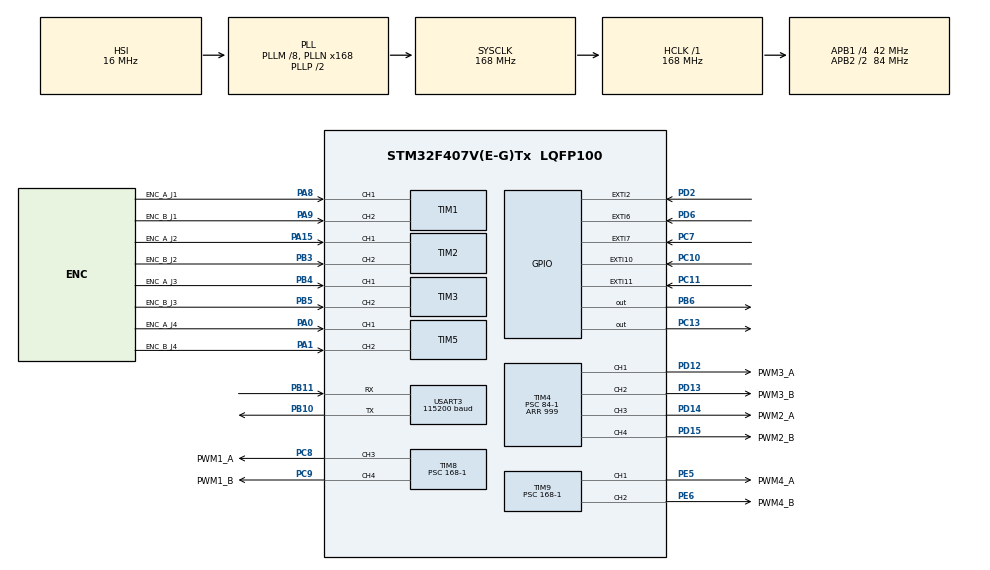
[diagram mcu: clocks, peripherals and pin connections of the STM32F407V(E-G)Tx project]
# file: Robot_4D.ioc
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Dma.Request0=USART3_RX
Dma.USART3_RX.0.Direction=DMA_PERIPH_TO_MEMORY
Dma.USART3_RX.0.FIFOMode=DMA_FIFOMODE_DISABLE
Dma.USART3_RX.0.Instance=DMA1_Stream1
Dma.USART3_RX.0.MemDataAlignment=DMA_MDATAALIGN_BYTE
Dma.USART3_RX.0.MemInc=DMA_MINC_ENABLE
Dma.USART3_RX.0.Mode=DMA_NORMAL
Dma.USART3_RX.0.PeriphDataAlignment=DMA_PDATAALIGN_BYTE
Dma.USART3_RX.0.PeriphInc=DMA_PINC_DISABLE
Dma.USART3_RX.0.Priority=DMA_PRIORITY_MEDIUM
Mcu.Family=STM32F4
Mcu.Name=STM32F407V(E-G)Tx
Mcu.Package=LQFP100
NVIC.DMA1_Stream1_IRQn=true\:3\:0\:true\:false\:true\:false\:true\:true
NVIC.EXTI15_10_IRQn=true\:1\:0\:true\:false\:true\:true\:true\:true
NVIC.EXTI2_IRQn=true\:1\:0\:true\:false\:true\:true\:true\:true
NVIC.EXTI9_5_IRQn=true\:1\:0\:true\:false\:true\:true\:true\:true
NVIC.PriorityGroup=NVIC_PRIORITYGROUP_4
NVIC.TIM1_BRK_TIM9_IRQn=true\:2\:0\:true\:false\:true\:true\:true\:true
NVIC.USART3_IRQn=true\:0\:0\:false\:false\:true\:true\:true\:true
PA0-WKUP.GPIO_Label=ENC_A_J4
PA0-WKUP.Signal=S_TIM5_CH1
PA1.GPIO_Label=ENC_B_J4
PA1.Signal=S_TIM5_CH2
PA13.Mode=Serial_Wire
PA13.Signal=SYS_JTMS-SWDIO
PA14.Mode=Serial_Wire
PA14.Signal=SYS_JTCK-SWCLK
PA15.GPIO_Label=ENC_A_J2
PA15.Signal=S_TIM2_CH1_ETR
PA8.GPIO_Label=ENC_A_J1
PA8.Signal=S_TIM1_CH1
PA9.GPIO_Label=ENC_B_J1
PA9.Signal=S_TIM1_CH2
PB10.Mode=Asynchronous
PB10.Signal=USART3_TX
PB11.Mode=Asynchronous
PB11.Signal=USART3_RX
PB3.GPIO_Label=ENC_B_J2
PB3.Signal=S_TIM2_CH2
PB4.GPIO_Label=ENC_A_J3
PB4.Signal=S_TIM3_CH1
PB5.GPIO_Label=ENC_B_J3
PB5.Signal=S_TIM3_CH2
PB6.Signal=GPIO_Output
PC10.GPIO_ModeDefaultEXTI=GPIO_MODE_IT_RISING
PC10.GPIO_PuPd=GPIO_PULLUP
PC10.Signal=GPXTI10
PC11.GPIO_ModeDefaultEXTI=GPIO_MODE_IT_RISING
PC11.GPIO_PuPd=GPIO_PULLUP
PC11.Signal=GPXTI11
PC13-ANTI_TAMP.Signal=GPIO_Output
PC7.GPIO_ModeDefaultEXTI=GPIO_MODE_IT_RISING
PC7.GPIO_PuPd=GPIO_PULLUP
PC7.Signal=GPXTI7
PC8.GPIO_Label=PWM1_A
PC8.Signal=S_TIM8_CH3
PC9.GPIO_Label=PWM1_B
PC9.Signal=S_TIM8_CH4
PD12.GPIO_Label=PWM3_A
PD12.Signal=S_TIM4_CH1
PD13.GPIO_Label=PWM3_B
PD13.Signal=S_TIM4_CH2
PD14.GPIO_Label=PWM2_A
PD14.Signal=S_TIM4_CH3
PD15.GPIO_Label=PWM2_B
PD15.Signal=S_TIM4_CH4
PD2.GPIO_ModeDefaultEXTI=GPIO_MODE_IT_RISING
PD2.GPIO_PuPd=GPIO_PULLUP
PD2.Signal=GPXTI2
PD6.GPIO_ModeDefaultEXTI=GPIO_MODE_IT_RISING
PD6.GPIO_PuPd=GPIO_PULLUP
PD6.Signal=GPXTI6
PE5.GPIO_Label=PWM4_A
PE5.Signal=S_TIM9_CH1
PE6.GPIO_Label=PWM4_B
PE6.Signal=S_TIM9_CH2
ProjectManager.HeapSize=0x200
ProjectManager.StackSize=0x400
ProjectManager.TargetToolchain=STM32CubeIDE
RCC.48MHZClocksFreq_Value=84000000
RCC.AHBFreq_Value=168000000
RCC.APB1CLKDivider=RCC_HCLK_DIV4
RCC.APB1Freq_Value=42000000
RCC.APB1TimFreq_Value=84000000
RCC.APB2CLKDivider=RCC_HCLK_DIV2
RCC.APB2Freq_Value=84000000
RCC.APB2TimFreq_Value=168000000
RCC.CortexFreq_Value=168000000
RCC.HCLKFreq_Value=168000000
RCC.HSE_VALUE=8000000
RCC.HSI_VALUE=16000000
RCC.LSE_VALUE=32768
RCC.PLLM=8
RCC.PLLN=168
RCC.SYSCLKFreq_VALUE=168000000
RCC.SYSCLKSource=RCC_SYSCLKSOURCE_PLLCLK
RCC.VCOOutputFreq_Value=336000000
SH.S_TIM1_CH1.0=TIM1_CH1,Encoder_Interface
SH.S_TIM1_CH2.0=TIM1_CH2,Encoder_Interface
SH.S_TIM2_CH1_ETR.0=TIM2_CH1,Encoder_Interface
SH.S_TIM2_CH2.0=TIM2_CH2,Encoder_Interface
SH.S_TIM3_CH1.0=TIM3_CH1,Encoder_Interface
SH.S_TIM3_CH2.0=TIM3_CH2,Encoder_Interface
SH.S_TIM4_CH1.0=TIM4_CH1,PWM Generation1 CH1
SH.S_TIM4_CH2.0=TIM4_CH2,PWM Generation2 CH2
SH.S_TIM4_CH3.0=TIM4_CH3,PWM Generation3 CH3
SH.S_TIM4_CH4.0=TIM4_CH4,PWM Generation4 CH4
SH.S_TIM5_CH1.0=TIM5_CH1,Encoder_Interface
SH.S_TIM5_CH2.0=TIM5_CH2,Encoder_Interface
SH.S_TIM8_CH3.0=TIM8_CH3,PWM Generation3 CH3
SH.S_TIM8_CH4.0=TIM8_CH4,PWM Generation4 CH4
SH.S_TIM9_CH1.0=TIM9_CH1,PWM Generation1 CH1
SH.S_TIM9_CH2.0=TIM9_CH2,PWM Generation2 CH2
TIM1.EncoderMode=TIM_ENCODERMODE_TI12
TIM2.EncoderMode=TIM_ENCODERMODE_TI12
TIM3.EncoderMode=TIM_ENCODERMODE_TI12
TIM4.Channel-PWM\ Generation1\ CH1=TIM_CHANNEL_1
TIM4.Channel-PWM\ Generation2\ CH2=TIM_CHANNEL_2
TIM4.Channel-PWM\ Generation3\ CH3=TIM_CHANNEL_3
TIM4.Channel-PWM\ Generation4\ CH4=TIM_CHANNEL_4
TIM4.Period=999
TIM4.Prescaler=84-1
TIM5.EncoderMode=TIM_ENCODERMODE_TI12
TIM8.Channel-PWM\ Generation3\ CH3=TIM_CHANNEL_3
TIM8.Channel-PWM\ Generation3\ CH3\ CH3N=TIM_CHANNEL_3
TIM8.Channel-PWM\ Generation4\ CH4=TIM_CHANNEL_4
TIM8.Period=999
TIM8.Prescaler=168-1
TIM9.Channel-PWM\ Generation1\ CH1=TIM_CHANNEL_1
TIM9.Channel-PWM\ Generation2\ CH2=TIM_CHANNEL_2
TIM9.Period=999
TIM9.Prescaler=168-1
USART3.BaudRate=115200
USART3.VirtualMode=VM_ASYNC
VP_TIM4_VS_ClockSourceINT.Mode=Internal
VP_TIM8_VS_ClockSourceINT.Mode=Internal
VP_TIM9_VS_ClockSourceINT.Mode=Internal
board=custom

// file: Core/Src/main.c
/* USER CODE BEGIN Header */
/**
 ******************************************************************************
 * @file           : main.c
 * @brief          : Main program body
 ******************************************************************************
 * @attention
 *
 * Copyright (c) 2023 STMicroelectronics.
 * All rights reserved.
 *
 * This software is licensed under terms that can be found in the LICENSE file
 * in the root directory of this software component.
 * If no LICENSE file comes with this software, it is provided AS-IS.
 *
 ******************************************************************************
 */
/* USER CODE END Header */
#include "main.h"

/* USER CODE BEGIN Includes */
#include "MOTOR_PID_CONTROL.h"
#include <string.h>
#include <stdio.h>
#include <math.h>
#include <stdbool.h>
/* USER CODE END Includes */

TIM_HandleTypeDef htim1;
TIM_HandleTypeDef htim2;
TIM_HandleTypeDef htim3;
TIM_HandleTypeDef htim4;
TIM_HandleTypeDef htim5;
TIM_HandleTypeDef htim8;
TIM_HandleTypeDef htim9;

UART_HandleTypeDef huart3;
DMA_HandleTypeDef hdma_usart3_rx;

/* USER CODE BEGIN PV */

#define MAX_MESG 100
char uartLogBuffer[MAX_MESG];
uint8_t flag_uart_rx = 0;
uint16_t uartLogRxSize;
float t1, t2, t3, t4;
uint8_t setHomeOk = 0;
uint8_t setHomeJ1 = 0, setHomeJ2 = 0, setHomeJ3 = 0, setHomeJ4 = 0;
typedef enum {
	step1, step2, step3, step4
} setHomeState_e;
bool IsHome = false;
setHomeState_e flagState = step1;
uint8_t setHome234Flag = 0;
uint8_t setHome1234Flag = 0;
MOTOR_t motor1;
MOTOR_t motor2;
MOTOR_t motor3;
MOTOR_t motor4;

// Motor 1,2,3: NHuy: 308/15, Nhu: 33
MOTOR_DRIVER_t driver1 = {
		.htimPWM = &htim8,
		.htimENC = &htim1,
		.EncCount = 0,
		.PWM_CH1 = TIM_CHANNEL_3,
		.PWM_CH2 = TIM_CHANNEL_4,
		.ENC_CH1 = TIM_CHANNEL_1,
		.ENC_CH2 = TIM_CHANNEL_2,
		.speed = 0,
		.pos = 0,
		.preSpeed = 0,
		.prePos = 0,
		.ratio = (float)308/15,
};
MOTOR_DRIVER_t driver2 = {
		.htimPWM = &htim4,
		.htimENC = &htim2,
		.EncCount = 0,
		.PWM_CH1 = TIM_CHANNEL_3,
		.PWM_CH2 = TIM_CHANNEL_4,
		.ENC_CH1 = TIM_CHANNEL_1,
		.ENC_CH2 = TIM_CHANNEL_2,
		.speed = 0,
		.pos = 0,
		.preSpeed = 0,
		.prePos = 0,
#ifdef NamDHay
		.ratio = (float)308/15,
#else
		.ratio = (float)33,
#endif
};
MOTOR_DRIVER_t driver3 = {
		.htimPWM = &htim4,
		.htimENC = &htim3,
		.EncCount = 0,
		.PWM_CH1 = TIM_CHANNEL_2,
		.PWM_CH2 = TIM_CHANNEL_1,
		.ENC_CH1 = TIM_CHANNEL_1,
		.ENC_CH2 = TIM_CHANNEL_2,
		.speed = 0,
		.pos = 0,
		.preSpeed = 0,
		.prePos = 0,
#ifdef NamDHay
		.ratio = (float)308/15,
#else
		.ratio = (float)33,
#endif
};
MOTOR_DRIVER_t driver4 = {
		.htimPWM = &htim9,
		.htimENC = &htim5,
		.EncCount = 0,
		.PWM_CH1 = TIM_CHANNEL_1,
		.PWM_CH2 = TIM_CHANNEL_2,
		.ENC_CH1 = TIM_CHANNEL_1,
		.ENC_CH2 = TIM_CHANNEL_2,
		.speed = 0,
		.pos = 0,
		.preSpeed = 0,
		.prePos = 0,
		.ratio = 5.5 };
/* USER CODE END PV */

void SystemClock_Config(void);
static void MX_GPIO_Init(void);
static void MX_DMA_Init(void);
static void MX_TIM1_Init(void);
static void MX_TIM2_Init(void);
static void MX_TIM3_Init(void);
static void MX_TIM4_Init(void);
static void MX_TIM5_Init(void);
static void MX_TIM8_Init(void);
static void MX_TIM9_Init(void);
static void MX_USART3_UART_Init(void);

/* USER CODE BEGIN 0 */
float T1, T2, T3, T4;
float Tf = 3000;
float setpoint1, setpoint2, setpoint3, setpoint4;
float preSetpoint1, preSetpoint2, preSetpoint3, preSetpoint4;
float p0_1 = 0, p0_2 = 0, p0_3 = 0, p0_4 = 0;
uint8_t MagState = 0;

void UART_Handle(char *data) {
	if (flag_uart_rx == 1 && strstr(data, "\n")) {
		if (strstr(data, "t1")) {
			sscanf(data, "t1:%f,t2:%f,t3:%f,t4:%f\n", &setpoint1, &setpoint2,
					&setpoint3, &setpoint4);
		}
		if (strstr(data, "qd")) {
			sscanf(data, "qd[%f,%f,%f,%f,%f,%hhd", &setpoint1, &setpoint2,
					&setpoint3, &setpoint4, &Tf, &MagState);
			HAL_GPIO_WritePin(GPIOB, GPIO_PIN_6, !MagState);
		}
		if (strstr(data, "home")) {
			IsHome = true;
		}
		if (strstr(data, "Reset")) {
			HAL_NVIC_SystemReset();
		}
		if (strstr(data, "hut")) {
			HAL_GPIO_WritePin(GPIOB, GPIO_PIN_6, 0);
		}
		if (strstr(data, "nha")) {
			HAL_GPIO_WritePin(GPIOB, GPIO_PIN_6, 1);
		}
		flag_uart_rx = 0;
		memset(data, 0, strlen(data));
	}
}

void UartIdle_Init() {
	HAL_UARTEx_ReceiveToIdle_DMA(&huart3, (uint8_t*) uartLogBuffer, MAX_MESG);
	__HAL_DMA_DISABLE_IT(&hdma_usart3_rx, DMA_IT_HT);
}

void HAL_UARTEx_RxEventCallback(UART_HandleTypeDef *huart, uint16_t Size) {
	if (huart->Instance == USART3) {
		uartLogRxSize = Size;
		flag_uart_rx = 1;
		HAL_UARTEx_ReceiveToIdle_DMA(huart, (uint8_t*) uartLogBuffer, MAX_MESG);
	}
}

float p(float p0, float pf, float tf, float v0, float vf, float T) {
	return p0 + v0 * T
			  + (3 * (pf - p0) / (tf * tf) - 2 * v0 / tf - vf / tf) * (T * T)
			  + (-2 * (pf - p0) / (tf * tf * tf) + (vf + v0) / (tf * tf)) * (T * T * T);
}

void HAL_TIM_PeriodElapsedCallback(TIM_HandleTypeDef *htim) {
	if (htim == &htim9) {
		HAL_GPIO_TogglePin(GPIOC, GPIO_PIN_13);

//		This is PID test part
//		MOTOR_runAngle(&motor1);
//		MOTOR_runAngle(&motor2);
//		MOTOR_runAngle(&motor3);
//		MOTOR_runAngle(&motor4);

//		Uncomment this for real run
		static uint8_t mode = 0;
		switch (mode) {
		case 0:
			if (T1 <= Tf) {
				T1 += 5;
				MOTOR_setAngle(&motor1, p(p0_1, setpoint1, Tf, 0, 0, T1));
			}
			MOTOR_runAngle(&motor1);
			mode = 1;
			break;
		case 1:
			if (T2 <= Tf) {
				T2 += 5;
				MOTOR_setAngle(&motor2, p(p0_2, setpoint2, Tf, 0, 0, T2));
			}
			MOTOR_runAngle(&motor2);
			mode = 2;
			break;
		case 2:
			if (T3 <= Tf) {
				T3 += 5;
				MOTOR_setAngle(&motor3, p(p0_3, setpoint3, Tf, 0, 0, T3));
			}
			MOTOR_runAngle(&motor3);
			mode = 3;
			break;
		case 3:
			if (T4 <= Tf) {
				T4 += 5;
				MOTOR_setAngle(&motor4, p(p0_4, setpoint4, Tf, 0, 0, T4));
			}
			MOTOR_runAngle(&motor4);
			mode = 4;
			break;
		case 4:
			if (setpoint1 != preSetpoint1) {
				T1 = 0;
				p0_1 = MOTOR_getPos(&motor1);
				preSetpoint1 = setpoint1;
			}
			if (setpoint2 != preSetpoint2) {
				T2 = 0;
				p0_2 = MOTOR_getPos(&motor2);
				preSetpoint2 = setpoint2;
			}
			if (setpoint3 != preSetpoint3) {
				T3 = 0;
				p0_3 = MOTOR_getPos(&motor3);
				preSetpoint3 = setpoint3;
			}
			if (setpoint4 != preSetpoint4) {
				T4 = 0;
				p0_4 = MOTOR_getPos(&motor4);
				preSetpoint4 = setpoint4;
			}
			mode = 0;
			break;
		default:
			break;
		}
	}
}

void SetHome(void) {
	if(IsHome) {
		MOTOR_reset(&motor1);
		MOTOR_reset(&motor2);
		MOTOR_reset(&motor3);
		MOTOR_reset(&motor4);
		setHomeOk = 0;
		setHome234Flag = 1;
		setHome1234Flag = 1;
		setHomeJ1 = setHomeJ2 = setHomeJ3 = setHomeJ4 = 0;
		if (setHomeOk == 0)
			MOTOR_setAngle(&motor3, 300);
		IsHome = false;
	}
	if (setHome1234Flag == 1 && setHomeOk == 0) {
		if (setHomeJ1 == 1 && setHomeJ2 == 1 && setHomeJ3 == 1 && setHomeJ4 == 1) {
#ifdef NamDHay
			MOTOR_setAngle(&motor1, 0);
			MOTOR_setAngle(&motor2, 50);
			MOTOR_setAngle(&motor3, -84);
			MOTOR_setAngle(&motor4, 133);
			if (fabs(MOTOR_getPos(&motor2) - 50)  < 1
			 && fabs(MOTOR_getPos(&motor3) + 84)  < 1
			 && fabs(MOTOR_getPos(&motor4) - 133) < 1) {
#else
			MOTOR_setAngle(&motor1, 0);
			MOTOR_setAngle(&motor2, 40);
			MOTOR_setAngle(&motor3, -82);
			MOTOR_setAngle(&motor4, -125);
			if (fabs(MOTOR_getPos(&motor2) - 40)  < 1
			 && fabs(MOTOR_getPos(&motor3) + 82)  < 1
			 && fabs(MOTOR_getPos(&motor4) + 125) < 1) {
#endif
				setHome234Flag = 0;
				setHome1234Flag = 0;
				setHomeOk = 1;
				MOTOR_reset(&motor2);
				MOTOR_reset(&motor3);
				MOTOR_reset(&motor4);
			}
		} else if (setHomeJ2 == 1 && setHomeJ3 == 1 && setHomeJ4 == 1) {
			if (fabs(motor1.setPoint) <= 2) {
				MOTOR_setAngle(&motor1, -20.0f);
			} else if (fabs(MOTOR_getPos(&motor1) + 20.0f) < 2
				  && (int) (motor1.setPoint / motor1.ratioJoint) == -20) {
				MOTOR_setAngle(&motor1, 20.0f);
			} else if (fabs(MOTOR_getPos(&motor1) - 20.0f) < 2
				  && (int) (motor1.setPoint / motor1.ratioJoint) == 20) {
				MOTOR_setAngle(&motor1, -40.0f);
			} else if (fabs(MOTOR_getPos(&motor1) + 40.0f) < 2
				  && (int) (motor1.setPoint / motor1.ratioJoint) == -40) {
				MOTOR_setAngle(&motor1, 40.0f);
			} else if (fabs(MOTOR_getPos(&motor1) - 40.0f) < 2
				  && (int) (motor1.setPoint / motor1.ratioJoint) == 40) {
				MOTOR_setAngle(&motor1, -60.0f);
			} else if (fabs(MOTOR_getPos(&motor1) + 60.0f) < 2
				  && (int) (motor1.setPoint / motor1.ratioJoint) == -60) {
				MOTOR_setAngle(&motor1, 60.0f);
			} else if (fabs(MOTOR_getPos(&motor1) - 60.0f) < 2
				  && (int) (motor1.setPoint / motor1.ratioJoint) == 60) {
				MOTOR_setAngle(&motor1, -80.0f);
			} else if (fabs(MOTOR_getPos(&motor1) + 80.0f) < 2) {
				MOTOR_setAngle(&motor1, 80.0f);
			}
		}
		if (HAL_GPIO_ReadPin(GPIOD, GPIO_PIN_6) == 0 && setHomeJ1 == 0) {
			setHomeJ1 = 1;
			MOTOR_reset(&motor1);
		}
		if (HAL_GPIO_ReadPin(GPIOD, GPIO_PIN_2) == 0 && setHomeJ2 == 0) {
			setHomeJ2 = 1;
			MOTOR_reset(&motor2);
		}
		if (HAL_GPIO_ReadPin(GPIOC, GPIO_PIN_11) == 0 && setHomeJ3 == 0) {
			setHomeJ3 = 1;
			MOTOR_reset(&motor3);
			if (setHomeJ2 == 0) {
				MOTOR_setAngle(&motor2, -300);
			}
			if (setHomeJ4 == 0) {
#ifdef NamDHay
				MOTOR_setAngle(&motor4, -300);
#else
				MOTOR_setAngle(&motor4, 300);
#endif
			}
		}
		if (HAL_GPIO_ReadPin(GPIOC, GPIO_PIN_7) == 0 && setHomeJ4 == 0) {
			setHomeJ4 = 1;
			MOTOR_reset(&motor4);
		}
	} else if (setHome1234Flag == 1 && setHomeOk == 1) {
		setpoint1 = 0;
		setpoint2 = 0;
		setpoint3 = 0;
		setpoint4 = 0;
		setHome1234Flag = 0;
	}
}
void HAL_GPIO_EXTI_Callback(uint16_t GPIO_Pin) {
	if (setHome1234Flag == 1 && setHomeOk == 0) {
		if (GPIO_Pin == GPIO_PIN_2 && setHomeJ2 == 0) {
			setHomeJ2 = 1;
			MOTOR_reset(&motor2);
		}
		if (GPIO_Pin == GPIO_PIN_11 && setHomeJ3 == 0) {
			setHomeJ3 = 1;
			MOTOR_reset(&motor3);
			if (setHomeJ2 == 0) {
				MOTOR_setAngle(&motor2, -300);
			}
			if (setHomeJ4 == 0) {
#ifdef NamDHay
				MOTOR_setAngle(&motor4, -300);
#else
				MOTOR_setAngle(&motor4, 300);
#endif
			}
		}
		if (GPIO_Pin == GPIO_PIN_7 && setHomeJ4 == 0) {
			setHomeJ4 = 1;
			MOTOR_reset(&motor4);
		}
		if (GPIO_Pin == GPIO_PIN_6 && setHomeJ1 == 0) {
			setHomeJ1 = 1;
			MOTOR_reset(&motor1);
		}
	}
}
/* USER CODE END 0 */

int main(void)
{

  /* MCU Configuration--------------------------------------------------------*/

  /* Reset of all peripherals, Initializes the Flash interface and the Systick. */
  HAL_Init();

  /* Configure the system clock */
  SystemClock_Config();

  /* Initialize all configured peripherals */
  MX_GPIO_Init();
  MX_DMA_Init();
  MX_TIM1_Init();
  MX_TIM2_Init();
  MX_TIM3_Init();
  MX_TIM4_Init();
  MX_TIM5_Init();
  MX_TIM8_Init();
  MX_TIM9_Init();
  MX_USART3_UART_Init();
  /* USER CODE BEGIN 2 */

  MOTOR_setPIDPosition(&motor1, 5, 0, 0, 5);
  MOTOR_setPIDVelocity(&motor1, 30, 150, 0, 5);
  MOTOR_setOutputRange(&motor1, -333, 333);
  MOTOR_setWindupRange(&motor1, -300, 300);
  MOTOR_init(&motor1, &driver1, 1, GPIO_PIN_6, 500);

  MOTOR_setPIDPosition(&motor2, 5, 0, 0, 5);
  MOTOR_setPIDVelocity(&motor2, 30, 150, 0, 5);
  MOTOR_setOutputRange(&motor2, -444, 444);
  MOTOR_setWindupRange(&motor2, -400, 400);
  MOTOR_init(&motor2, &driver2, 2, GPIO_PIN_2, 500);

  MOTOR_setPIDPosition(&motor3, 5, 0, 0, 5);
  MOTOR_setPIDVelocity(&motor3, 30, 150, 0, 5);
  MOTOR_setOutputRange(&motor3, -666, 666);
  MOTOR_setWindupRange(&motor3, -600, 600);
  MOTOR_init(&motor3, &driver3, 2, GPIO_PIN_11, 500);

  MOTOR_setPIDPosition(&motor4, 5, 0, 0, 5);
  MOTOR_setPIDVelocity(&motor4, 3, 50, 0, 5);
  MOTOR_setOutputRange(&motor4, -666, 666);
  MOTOR_setWindupRange(&motor4, -600, 600);
  MOTOR_init(&motor4, &driver4, 1, GPIO_PIN_7, 500);

  HAL_TIM_Base_Start_IT(&htim9);
  htim9.Instance->ARR = 999;
  UartIdle_Init();

  uint32_t pre_time = HAL_GetTick();
  char data_angle[30];
  /* USER CODE END 2 */

  /* Infinite loop */
  /* USER CODE BEGIN WHILE */
 	while (1) {
//		Uncomment this for real run
		UART_Handle(uartLogBuffer);
		SetHome();
		if (HAL_GetTick() - pre_time >= 200) {
			sprintf(data_angle, "t1:%.1f,t2:%.1f,t3:%.1f,t4:%.1f\n",
					(float) MOTOR_getPos(&motor1),
					(float) MOTOR_getPos(&motor2),
					(float) MOTOR_getPos(&motor3),
					(float) MOTOR_getPos(&motor4));
			HAL_UART_Transmit(&huart3, (uint8_t*) data_angle,
					strlen(data_angle), HAL_MAX_DELAY);

			pre_time = HAL_GetTick();
		}
//		HAL_GPIO_WritePin(GPIOB, GPIO_PIN_6, MagState);

//		This is DC test part
//		MOTOR_driver_rotary(&driver1, -200);
//		MOTOR_driver_rotary(&driver2, -200);
//		MOTOR_driver_rotary(&driver3, -200);
//		MOTOR_driver_rotary(&driver4, -200);
//
//		MOTOR_driver_readPosAndSpeed(&driver1, &motor1.pos, &motor1.speed,
//				motor1.PIDPosition.Sample_time);
//		MOTOR_driver_readPosAndSpeed(&driver2, &motor2.pos, &motor2.speed,
//				motor2.PIDPosition.Sample_time);
//		MOTOR_driver_readPosAndSpeed(&driver3, &motor3.pos, &motor3.speed,
//				motor3.PIDPosition.Sample_time);
//		MOTOR_driver_readPosAndSpeed(&driver4, &motor4.pos, &motor4.speed,
//				motor4.PIDPosition.Sample_time);
    /* USER CODE END WHILE */

	}
}

void SystemClock_Config(void)
{
  RCC_OscInitTypeDef RCC_OscInitStruct = {0};
  RCC_ClkInitTypeDef RCC_ClkInitStruct = {0};

  /** Configure the main internal regulator output voltage
  */
  __HAL_RCC_PWR_CLK_ENABLE();
  __HAL_PWR_VOLTAGESCALING_CONFIG(PWR_REGULATOR_VOLTAGE_SCALE1);

  /** Initializes the RCC Oscillators according to the specified parameters
  * in the RCC_OscInitTypeDef structure.
  */
  RCC_OscInitStruct.OscillatorType = RCC_OSCILLATORTYPE_HSI;
  RCC_OscInitStruct.HSIState = RCC_HSI_ON;
  RCC_OscInitStruct.HSICalibrationValue = RCC_HSICALIBRATION_DEFAULT;
  RCC_OscInitStruct.PLL.PLLState = RCC_PLL_ON;
  RCC_OscInitStruct.PLL.PLLSource = RCC_PLLSOURCE_HSI;
  RCC_OscInitStruct.PLL.PLLM = 8;
  RCC_OscInitStruct.PLL.PLLN = 168;
  RCC_OscInitStruct.PLL.PLLP = RCC_PLLP_DIV2;
  RCC_OscInitStruct.PLL.PLLQ = 4;
  if (HAL_RCC_OscConfig(&RCC_OscInitStruct) != HAL_OK)
  {
    Error_Handler();
  }

  /** Initializes the CPU, AHB and APB buses clocks
  */
  RCC_ClkInitStruct.ClockType = RCC_CLOCKTYPE_HCLK|RCC_CLOCKTYPE_SYSCLK
                              |RCC_CLOCKTYPE_PCLK1|RCC_CLOCKTYPE_PCLK2;
  RCC_ClkInitStruct.SYSCLKSource = RCC_SYSCLKSOURCE_PLLCLK;
  RCC_ClkInitStruct.AHBCLKDivider = RCC_SYSCLK_DIV1;
  RCC_ClkInitStruct.APB1CLKDivider = RCC_HCLK_DIV4;
  RCC_ClkInitStruct.APB2CLKDivider = RCC_HCLK_DIV2;

  if (HAL_RCC_ClockConfig(&RCC_ClkInitStruct, FLASH_LATENCY_5) != HAL_OK)
  {
    Error_Handler();
  }
}

static void MX_TIM1_Init(void)
{

  TIM_Encoder_InitTypeDef sConfig = {0};
  TIM_MasterConfigTypeDef sMasterConfig = {0};

  htim1.Instance = TIM1;
  htim1.Init.Prescaler = 0;
  htim1.Init.CounterMode = TIM_COUNTERMODE_UP;
  htim1.Init.Period = 65535;
  htim1.Init.ClockDivision = TIM_CLOCKDIVISION_DIV1;
  htim1.Init.RepetitionCounter = 0;
  htim1.Init.AutoReloadPreload = TIM_AUTORELOAD_PRELOAD_DISABLE;
  sConfig.EncoderMode = TIM_ENCODERMODE_TI12;
  sConfig.IC1Polarity = TIM_ICPOLARITY_RISING;
  sConfig.IC1Selection = TIM_ICSELECTION_DIRECTTI;
  sConfig.IC1Prescaler = TIM_ICPSC_DIV1;
  sConfig.IC1Filter = 0;
  sConfig.IC2Polarity = TIM_ICPOLARITY_RISING;
  sConfig.IC2Selection = TIM_ICSELECTION_DIRECTTI;
  sConfig.IC2Prescaler = TIM_ICPSC_DIV1;
  sConfig.IC2Filter = 0;
  if (HAL_TIM_Encoder_Init(&htim1, &sConfig) != HAL_OK)
  {
    Error_Handler();
  }
  sMasterConfig.MasterOutputTrigger = TIM_TRGO_RESET;
  sMasterConfig.MasterSlaveMode = TIM_MASTERSLAVEMODE_DISABLE;
  if (HAL_TIMEx_MasterConfigSynchronization(&htim1, &sMasterConfig) != HAL_OK)
  {
    Error_Handler();
  }

}

static void MX_TIM2_Init(void)
{

  TIM_Encoder_InitTypeDef sConfig = {0};
  TIM_MasterConfigTypeDef sMasterConfig = {0};

  htim2.Instance = TIM2;
  htim2.Init.Prescaler = 0;
  htim2.Init.CounterMode = TIM_COUNTERMODE_UP;
  htim2.Init.Period = 4294967295;
  htim2.Init.ClockDivision = TIM_CLOCKDIVISION_DIV1;
  htim2.Init.AutoReloadPreload = TIM_AUTORELOAD_PRELOAD_DISABLE;
  sConfig.EncoderMode = TIM_ENCODERMODE_TI12;
  sConfig.IC1Polarity = TIM_ICPOLARITY_RISING;
  sConfig.IC1Selection = TIM_ICSELECTION_DIRECTTI;
  sConfig.IC1Prescaler = TIM_ICPSC_DIV1;
  sConfig.IC1Filter = 0;
  sConfig.IC2Polarity = TIM_ICPOLARITY_RISING;
  sConfig.IC2Selection = TIM_ICSELECTION_DIRECTTI;
  sConfig.IC2Prescaler = TIM_ICPSC_DIV1;
  sConfig.IC2Filter = 0;
  if (HAL_TIM_Encoder_Init(&htim2, &sConfig) != HAL_OK)
  {
    Error_Handler();
  }
  sMasterConfig.MasterOutputTrigger = TIM_TRGO_RESET;
  sMasterConfig.MasterSlaveMode = TIM_MASTERSLAVEMODE_DISABLE;
  if (HAL_TIMEx_MasterConfigSynchronization(&htim2, &sMasterConfig) != HAL_OK)
  {
    Error_Handler();
  }

}

static void MX_TIM3_Init(void)
{

  TIM_Encoder_InitTypeDef sConfig = {0};
  TIM_MasterConfigTypeDef sMasterConfig = {0};

  htim3.Instance = TIM3;
  htim3.Init.Prescaler = 0;
  htim3.Init.CounterMode = TIM_COUNTERMODE_UP;
  htim3.Init.Period = 65535;
  htim3.Init.ClockDivision = TIM_CLOCKDIVISION_DIV1;
  htim3.Init.AutoReloadPreload = TIM_AUTORELOAD_PRELOAD_DISABLE;
  sConfig.EncoderMode = TIM_ENCODERMODE_TI12;
  sConfig.IC1Polarity = TIM_ICPOLARITY_RISING;
  sConfig.IC1Selection = TIM_ICSELECTION_DIRECTTI;
  sConfig.IC1Prescaler = TIM_ICPSC_DIV1;
  sConfig.IC1Filter = 0;
  sConfig.IC2Polarity = TIM_ICPOLARITY_RISING;
  sConfig.IC2Selection = TIM_ICSELECTION_DIRECTTI;
  sConfig.IC2Prescaler = TIM_ICPSC_DIV1;
  sConfig.IC2Filter = 0;
  if (HAL_TIM_Encoder_Init(&htim3, &sConfig) != HAL_OK)
  {
    Error_Handler();
  }
  sMasterConfig.MasterOutputTrigger = TIM_TRGO_RESET;
  sMasterConfig.MasterSlaveMode = TIM_MASTERSLAVEMODE_DISABLE;
  if (HAL_TIMEx_MasterConfigSynchronization(&htim3, &sMasterConfig) != HAL_OK)
  {
    Error_Handler();
  }

}

static void MX_TIM4_Init(void)
{

  TIM_ClockConfigTypeDef sClockSourceConfig = {0};
  TIM_MasterConfigTypeDef sMasterConfig = {0};
  TIM_OC_InitTypeDef sConfigOC = {0};

  htim4.Instance = TIM4;
  htim4.Init.Prescaler = 84-1;
  htim4.Init.CounterMode = TIM_COUNTERMODE_UP;
  htim4.Init.Period = 999;
  htim4.Init.ClockDivision = TIM_CLOCKDIVISION_DIV1;
  htim4.Init.AutoReloadPreload = TIM_AUTORELOAD_PRELOAD_DISABLE;
  if (HAL_TIM_Base_Init(&htim4) != HAL_OK)
  {
    Error_Handler();
  }
  sClockSourceConfig.ClockSource = TIM_CLOCKSOURCE_INTERNAL;
  if (HAL_TIM_ConfigClockSource(&htim4, &sClockSourceConfig) != HAL_OK)
  {
    Error_Handler();
  }
  if (HAL_TIM_PWM_Init(&htim4) != HAL_OK)
  {
    Error_Handler();
  }
  sMasterConfig.MasterOutputTrigger = TIM_TRGO_RESET;
  sMasterConfig.MasterSlaveMode = TIM_MASTERSLAVEMODE_DISABLE;
  if (HAL_TIMEx_MasterConfigSynchronization(&htim4, &sMasterConfig) != HAL_OK)
  {
    Error_Handler();
  }
  sConfigOC.OCMode = TIM_OCMODE_PWM1;
  sConfigOC.Pulse = 0;
  sConfigOC.OCPolarity = TIM_OCPOLARITY_HIGH;
  sConfigOC.OCFastMode = TIM_OCFAST_DISABLE;
  if (HAL_TIM_PWM_ConfigChannel(&htim4, &sConfigOC, TIM_CHANNEL_1) != HAL_OK)
  {
    Error_Handler();
  }
  if (HAL_TIM_PWM_ConfigChannel(&htim4, &sConfigOC, TIM_CHANNEL_2) != HAL_OK)
  {
    Error_Handler();
  }
  if (HAL_TIM_PWM_ConfigChannel(&htim4, &sConfigOC, TIM_CHANNEL_3) != HAL_OK)
  {
    Error_Handler();
  }
  if (HAL_TIM_PWM_ConfigChannel(&htim4, &sConfigOC, TIM_CHANNEL_4) != HAL_OK)
  {
    Error_Handler();
  }
  HAL_TIM_MspPostInit(&htim4);

}

static void MX_TIM5_Init(void)
{

  TIM_Encoder_InitTypeDef sConfig = {0};
  TIM_MasterConfigTypeDef sMasterConfig = {0};

  htim5.Instance = TIM5;
  htim5.Init.Prescaler = 0;
  htim5.Init.CounterMode = TIM_COUNTERMODE_UP;
  htim5.Init.Period = 4294967295;
  htim5.Init.ClockDivision = TIM_CLOCKDIVISION_DIV1;
  htim5.Init.AutoReloadPreload = TIM_AUTORELOAD_PRELOAD_DISABLE;
  sConfig.EncoderMode = TIM_ENCODERMODE_TI12;
  sConfig.IC1Polarity = TIM_ICPOLARITY_RISING;
  sConfig.IC1Selection = TIM_ICSELECTION_DIRECTTI;
  sConfig.IC1Prescaler = TIM_ICPSC_DIV1;
  sConfig.IC1Filter = 0;
  sConfig.IC2Polarity = TIM_ICPOLARITY_RISING;
  sConfig.IC2Selection = TIM_ICSELECTION_DIRECTTI;
  sConfig.IC2Prescaler = TIM_ICPSC_DIV1;
  sConfig.IC2Filter = 0;
  if (HAL_TIM_Encoder_Init(&htim5, &sConfig) != HAL_OK)
  {
    Error_Handler();
  }
  sMasterConfig.MasterOutputTrigger = TIM_TRGO_RESET;
  sMasterConfig.MasterSlaveMode = TIM_MASTERSLAVEMODE_DISABLE;
  if (HAL_TIMEx_MasterConfigSynchronization(&htim5, &sMasterConfig) != HAL_OK)
  {
    Error_Handler();
  }

}

static void MX_TIM8_Init(void)
{

  TIM_ClockConfigTypeDef sClockSourceConfig = {0};
  TIM_MasterConfigTypeDef sMasterConfig = {0};
  TIM_OC_InitTypeDef sConfigOC = {0};
  TIM_BreakDeadTimeConfigTypeDef sBreakDeadTimeConfig = {0};

  htim8.Instance = TIM8;
  htim8.Init.Prescaler = 168-1;
  htim8.Init.CounterMode = TIM_COUNTERMODE_UP;
  htim8.Init.Period = 999;
  htim8.Init.ClockDivision = TIM_CLOCKDIVISION_DIV1;
  htim8.Init.RepetitionCounter = 0;
  htim8.Init.AutoReloadPreload = TIM_AUTORELOAD_PRELOAD_DISABLE;
  if (HAL_TIM_Base_Init(&htim8) != HAL_OK)
  {
    Error_Handler();
  }
  sClockSourceConfig.ClockSource = TIM_CLOCKSOURCE_INTERNAL;
  if (HAL_TIM_ConfigClockSource(&htim8, &sClockSourceConfig) != HAL_OK)
  {
    Error_Handler();
  }
  if (HAL_TIM_PWM_Init(&htim8) != HAL_OK)
  {
    Error_Handler();
  }
  sMasterConfig.MasterOutputTrigger = TIM_TRGO_RESET;
  sMasterConfig.MasterSlaveMode = TIM_MASTERSLAVEMODE_DISABLE;
  if (HAL_TIMEx_MasterConfigSynchronization(&htim8, &sMasterConfig) != HAL_OK)
  {
    Error_Handler();
  }
  sConfigOC.OCMode = TIM_OCMODE_PWM1;
  sConfigOC.Pulse = 0;
  sConfigOC.OCPolarity = TIM_OCPOLARITY_HIGH;
  sConfigOC.OCNPolarity = TIM_OCNPOLARITY_HIGH;
  sConfigOC.OCFastMode = TIM_OCFAST_DISABLE;
  sConfigOC.OCIdleState = TIM_OCIDLESTATE_RESET;
  sConfigOC.OCNIdleState = TIM_OCNIDLESTATE_RESET;
  if (HAL_TIM_PWM_ConfigChannel(&htim8, &sConfigOC, TIM_CHANNEL_3) != HAL_OK)
  {
    Error_Handler();
  }
  if (HAL_TIM_PWM_ConfigChannel(&htim8, &sConfigOC, TIM_CHANNEL_4) != HAL_OK)
  {
    Error_Handler();
  }
  sBreakDeadTimeConfig.OffStateRunMode = TIM_OSSR_DISABLE;
  sBreakDeadTimeConfig.OffStateIDLEMode = TIM_OSSI_DISABLE;
  sBreakDeadTimeConfig.LockLevel = TIM_LOCKLEVEL_OFF;
  sBreakDeadTimeConfig.DeadTime = 0;
  sBreakDeadTimeConfig.BreakState = TIM_BREAK_DISABLE;
  sBreakDeadTimeConfig.BreakPolarity = TIM_BREAKPOLARITY_HIGH;
  sBreakDeadTimeConfig.AutomaticOutput = TIM_AUTOMATICOUTPUT_DISABLE;
  if (HAL_TIMEx_ConfigBreakDeadTime(&htim8, &sBreakDeadTimeConfig) != HAL_OK)
  {
    Error_Handler();
  }
  HAL_TIM_MspPostInit(&htim8);

}

static void MX_TIM9_Init(void)
{

  TIM_ClockConfigTypeDef sClockSourceConfig = {0};
  TIM_OC_InitTypeDef sConfigOC = {0};

  htim9.Instance = TIM9;
  htim9.Init.Prescaler = 168-1;
  htim9.Init.CounterMode = TIM_COUNTERMODE_UP;
  htim9.Init.Period = 999;
  htim9.Init.ClockDivision = TIM_CLOCKDIVISION_DIV1;
  htim9.Init.AutoReloadPreload = TIM_AUTORELOAD_PRELOAD_DISABLE;
  if (HAL_TIM_Base_Init(&htim9) != HAL_OK)
  {
    Error_Handler();
  }
  sClockSourceConfig.ClockSource = TIM_CLOCKSOURCE_INTERNAL;
  if (HAL_TIM_ConfigClockSource(&htim9, &sClockSourceConfig) != HAL_OK)
  {
    Error_Handler();
  }
  if (HAL_TIM_PWM_Init(&htim9) != HAL_OK)
  {
    Error_Handler();
  }
  sConfigOC.OCMode = TIM_OCMODE_PWM1;
  sConfigOC.Pulse = 0;
  sConfigOC.OCPolarity = TIM_OCPOLARITY_HIGH;
  sConfigOC.OCFastMode = TIM_OCFAST_DISABLE;
  if (HAL_TIM_PWM_ConfigChannel(&htim9, &sConfigOC, TIM_CHANNEL_1) != HAL_OK)
  {
    Error_Handler();
  }
  if (HAL_TIM_PWM_ConfigChannel(&htim9, &sConfigOC, TIM_CHANNEL_2) != HAL_OK)
  {
    Error_Handler();
  }
  HAL_TIM_MspPostInit(&htim9);

}

static void MX_USART3_UART_Init(void)
{

  huart3.Instance = USART3;
  huart3.Init.BaudRate = 115200;
  huart3.Init.WordLength = UART_WORDLENGTH_8B;
  huart3.Init.StopBits = UART_STOPBITS_1;
  huart3.Init.Parity = UART_PARITY_NONE;
  huart3.Init.Mode = UART_MODE_TX_RX;
  huart3.Init.HwFlowCtl = UART_HWCONTROL_NONE;
  huart3.Init.OverSampling = UART_OVERSAMPLING_16;
  if (HAL_UART_Init(&huart3) != HAL_OK)
  {
    Error_Handler();
  }

}

static void MX_DMA_Init(void)
{

  /* DMA controller clock enable */
  __HAL_RCC_DMA1_CLK_ENABLE();

  /* DMA interrupt init */
  /* DMA1_Stream1_IRQn interrupt configuration */
  HAL_NVIC_SetPriority(DMA1_Stream1_IRQn, 3, 0);
  HAL_NVIC_EnableIRQ(DMA1_Stream1_IRQn);

}

static void MX_GPIO_Init(void)
{
  GPIO_InitTypeDef GPIO_InitStruct = {0};

  /* GPIO Ports Clock Enable */
  __HAL_RCC_GPIOE_CLK_ENABLE();
  __HAL_RCC_GPIOC_CLK_ENABLE();
  __HAL_RCC_GPIOA_CLK_ENABLE();
  __HAL_RCC_GPIOB_CLK_ENABLE();
  __HAL_RCC_GPIOD_CLK_ENABLE();

  /*Configure GPIO pin Output Level */
  HAL_GPIO_WritePin(GPIOC, GPIO_PIN_13, GPIO_PIN_RESET);

  /*Configure GPIO pin Output Level */
  HAL_GPIO_WritePin(GPIOB, GPIO_PIN_6, GPIO_PIN_RESET);

  /*Configure GPIO pin : PC13 */
  GPIO_InitStruct.Pin = GPIO_PIN_13;
  GPIO_InitStruct.Mode = GPIO_MODE_OUTPUT_PP;
  GPIO_InitStruct.Pull = GPIO_NOPULL;
  GPIO_InitStruct.Speed = GPIO_SPEED_FREQ_LOW;
  HAL_GPIO_Init(GPIOC, &GPIO_InitStruct);

  /*Configure GPIO pins : PC7 PC10 PC11 */
  GPIO_InitStruct.Pin = GPIO_PIN_7|GPIO_PIN_10|GPIO_PIN_11;
  GPIO_InitStruct.Mode = GPIO_MODE_IT_RISING;
  GPIO_InitStruct.Pull = GPIO_PULLUP;
  HAL_GPIO_Init(GPIOC, &GPIO_InitStruct);

  /*Configure GPIO pins : PD2 PD6 */
  GPIO_InitStruct.Pin = GPIO_PIN_2|GPIO_PIN_6;
  GPIO_InitStruct.Mode = GPIO_MODE_IT_RISING;
  GPIO_InitStruct.Pull = GPIO_PULLUP;
  HAL_GPIO_Init(GPIOD, &GPIO_InitStruct);

  /*Configure GPIO pin : PB6 */
  GPIO_InitStruct.Pin = GPIO_PIN_6;
  GPIO_InitStruct.Mode = GPIO_MODE_OUTPUT_PP;
  GPIO_InitStruct.Pull = GPIO_NOPULL;
  GPIO_InitStruct.Speed = GPIO_SPEED_FREQ_LOW;
  HAL_GPIO_Init(GPIOB, &GPIO_InitStruct);

  /* EXTI interrupt init*/
  HAL_NVIC_SetPriority(EXTI2_IRQn, 1, 0);
  HAL_NVIC_EnableIRQ(EXTI2_IRQn);

  HAL_NVIC_SetPriority(EXTI9_5_IRQn, 1, 0);
  HAL_NVIC_EnableIRQ(EXTI9_5_IRQn);

  HAL_NVIC_SetPriority(EXTI15_10_IRQn, 1, 0);
  HAL_NVIC_EnableIRQ(EXTI15_10_IRQn);

}

void Error_Handler(void)
{
	__disable_irq();
	while (1) {
	}
}
